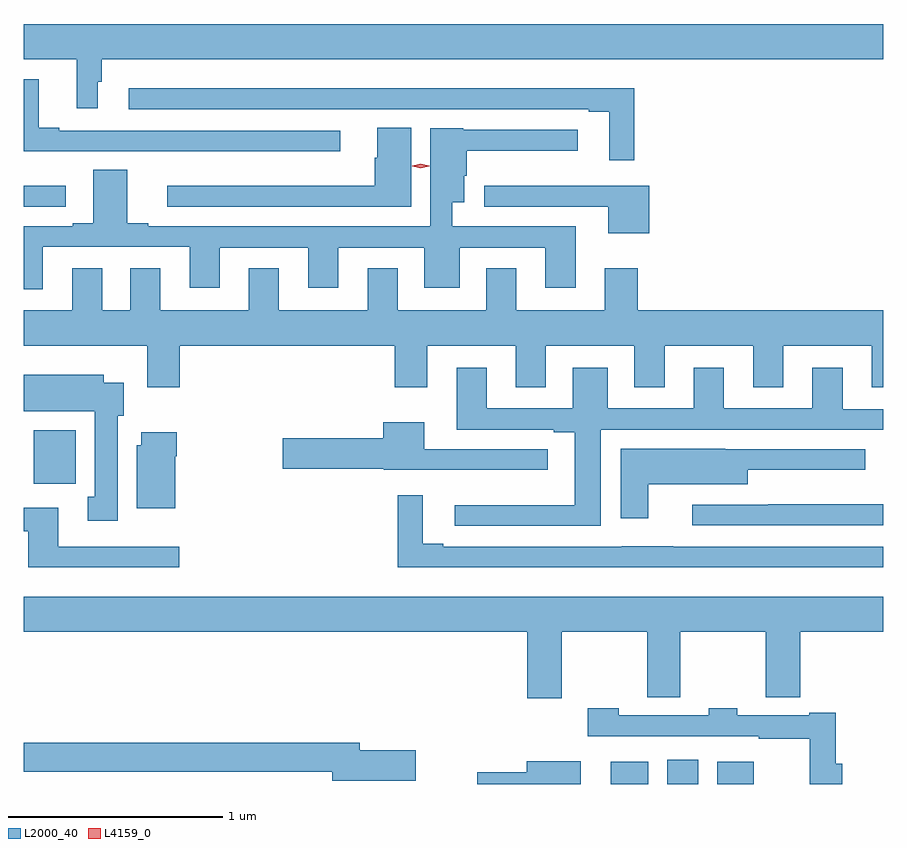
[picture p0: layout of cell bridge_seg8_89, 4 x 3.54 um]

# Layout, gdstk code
import gdstk
lib = gdstk.Library(unit=1e-6, precision=1e-09)
def R(c, l, rs):  # rectangles x0, y0, x1, y1
    for r in rs: c.add(gdstk.rectangle(r[:2], r[2:], *l))
def P(c, l, *ps):  # polygons
    for p in ps: c.add(gdstk.Polygon(p, *l))
L2000_40 = (2000, 40)
L4159_0 = (4159, 0)

bridge_seg8_89 = lib.new_cell('bridge_seg8_89')
R(bridge_seg8_89, L2000_40, [(677.684,1097.144,677.86,1097.248), (677.948,1097.144,678.091,1097.257), (678.179,1097.144,678.349,1097.248), (674.999,1098.54,675.195,1098.79), (674.953,1099.83,675.148,1099.927)])
P(bridge_seg8_89, L2000_40, [(675.298,1100.411),(675.317,1100.411),(675.317,1100.516),(678.953,1100.516),(678.953,1100.68),(674.953,1100.68),(674.953,1100.516),(675.2,1100.516),(675.2,1100.289),(675.298,1100.289)],
  [(675.135,1100.088),(675.532,1100.088),(675.532,1100.087),(676.426,1100.087),(676.426,1100.184),(675.118,1100.184),(675.118,1100.197),(675.023,1100.197),(675.023,1100.422),(674.953,1100.422),(674.953,1100.087),(675.135,1100.087)],
  [(677.795,1100.38),(675.441,1100.38),(675.441,1100.283),(677.582,1100.283),(677.582,1100.271),(677.678,1100.271),(677.678,1100.046),(677.795,1100.046)],
  [(676.756,1100.198),(676.598,1100.198),(676.598,1100.057),(676.586,1100.057),(676.586,1099.927),(675.621,1099.927),(675.621,1099.83),(676.756,1099.83)],
  [(675.043,1099.644),(675.725,1099.644),(675.725,1099.452),(675.865,1099.452),(675.865,1099.639),(676.277,1099.639),(676.277,1099.452),(676.417,1099.452),(676.417,1099.639),(676.817,1099.639),(676.817,1099.452),(676.981,1099.452),(676.981,1099.639),(677.381,1099.639),(677.381,1099.452),(677.521,1099.452),(677.521,1099.74),(676.948,1099.74),(676.948,1099.85),(677.002,1099.85),(677.002,1099.974),(677.015,1099.974),(677.015,1100.09),(677.53,1100.09),(677.53,1100.187),(676.998,1100.187),(676.998,1100.194),(676.844,1100.194),(676.844,1099.74),(675.532,1099.74),(675.532,1099.753),(675.436,1099.753),(675.436,1100.003),(675.278,1100.003),(675.278,1099.753),(675.182,1099.753),(675.182,1099.74),(674.953,1099.74),(674.953,1099.446),(675.043,1099.446)],
  [(677.863,1099.927),(677.097,1099.927),(677.097,1099.83),(677.672,1099.83),(677.672,1099.706),(677.863,1099.706)],
  [(675.179,1099.543),(675.179,1099.348),(674.953,1099.348),(674.953,1099.184),(675.527,1099.184),(675.527,1098.99),(675.68,1098.99),(675.68,1099.184),(676.679,1099.184),(676.679,1098.99),(676.831,1098.99),(676.831,1099.184),(677.243,1099.184),(677.243,1098.99),(677.383,1098.99),(677.383,1099.184),(677.795,1099.184),(677.795,1098.99),(677.935,1098.99),(677.935,1099.184),(678.347,1099.184),(678.347,1098.99),(678.487,1098.99),(678.487,1099.184),(678.899,1099.184),(678.899,1098.99),(678.953,1098.99),(678.953,1099.348),(677.81,1099.348),(677.81,1099.543),(677.657,1099.543),(677.657,1099.348),(677.245,1099.348),(677.245,1099.543),(677.105,1099.543),(677.105,1099.348),(676.693,1099.348),(676.693,1099.543),(676.553,1099.543),(676.553,1099.348),(676.141,1099.348),(676.141,1099.543),(676.001,1099.543),(676.001,1099.348),(675.589,1099.348),(675.589,1099.543),(675.449,1099.543),(675.449,1099.348),(675.319,1099.348),(675.319,1099.543)],
  [(677.637,1098.792),(678.953,1098.792),(678.953,1098.888),(678.763,1098.888),(678.763,1099.081),(678.623,1099.081),(678.623,1098.893),(678.211,1098.893),(678.211,1099.081),(678.071,1099.081),(678.071,1098.893),(677.671,1098.893),(677.671,1099.081),(677.507,1099.081),(677.507,1098.893),(677.107,1098.893),(677.107,1099.081),(676.967,1099.081),(676.967,1098.792),(677.42,1098.792),(677.42,1098.78),(677.516,1098.78),(677.516,1098.442),(676.959,1098.442),(676.959,1098.345),(677.637,1098.345)],
  [(675.391,1098.858),(675.418,1098.858),(675.418,1099.012),(675.325,1099.012),(675.325,1099.048),(674.953,1099.048),(674.953,1098.878),(675.284,1098.878),(675.284,1098.481),(675.251,1098.481),(675.251,1098.369),(675.391,1098.369)],
  [(677.392,1098.702),(676.816,1098.702),(676.816,1098.826),(676.625,1098.826),(676.625,1098.753),(676.158,1098.753),(676.158,1098.611),(676.629,1098.611),(676.629,1098.605),(677.392,1098.605)],
  [(675.658,1098.668),(675.666,1098.668),(675.666,1098.781),(675.5,1098.781),(675.5,1098.72),(675.479,1098.72),(675.479,1098.428),(675.658,1098.428)],
  [(677.86,1098.539),(678.322,1098.539),(678.322,1098.605),(678.868,1098.605),(678.868,1098.702),(678.218,1098.702),(678.218,1098.703),(677.732,1098.703),(677.732,1098.381),(677.86,1098.381)],
  [(678.953,1098.249),(677.975,1098.249),(677.975,1098.25),(677.736,1098.25),(677.736,1098.249),(676.906,1098.249),(676.906,1098.262),(676.81,1098.262),(676.81,1098.487),(676.693,1098.487),(676.693,1098.152),(678.953,1098.152)],
  [(678.953,1098.445),(678.418,1098.445),(678.418,1098.444),(678.063,1098.444),(678.063,1098.348),(678.953,1098.348)],
  [(675.676,1098.249),(675.115,1098.249),(675.115,1098.43),(674.953,1098.43),(674.953,1098.321),(674.975,1098.321),(674.975,1098.152),(675.676,1098.152)],
  [(677.457,1097.852),(677.854,1097.852),(677.854,1097.548),(678.008,1097.548),(678.008,1097.852),(678.406,1097.852),(678.406,1097.548),(678.566,1097.548),(678.566,1097.852),(678.953,1097.852),(678.953,1098.016),(674.953,1098.016),(674.953,1097.852),(677.297,1097.852),(677.297,1097.544),(677.457,1097.544)],
  [(678.761,1097.239),(678.731,1097.239),(678.731,1097.476),(678.608,1097.476),(678.608,1097.463),(678.273,1097.463),(678.273,1097.496),(678.141,1097.496),(678.141,1097.463),(677.721,1097.463),(677.721,1097.496),(677.577,1097.496),(677.577,1097.367),(678.373,1097.367),(678.373,1097.355),(678.61,1097.355),(678.61,1097.144),(678.761,1097.144)],
  [(676.777,1097.3),(676.516,1097.3),(676.516,1097.336),(674.953,1097.336),(674.953,1097.2),(676.388,1097.2),(676.388,1097.158),(676.777,1097.158)],
  [(677.545,1097.251),(677.294,1097.251),(677.294,1097.198),(677.064,1097.198),(677.064,1097.144),(677.545,1097.144)])
P(bridge_seg8_89, L4159_0, [(676.8,1100.009),(676.76,1100.019),(676.76,1100.019),(676.76,1100.02),(676.8,1100.029),(676.84,1100.02),(676.84,1100.019),(676.84,1100.019)])

lib.write_gds('bridge_seg8_89.gds')
